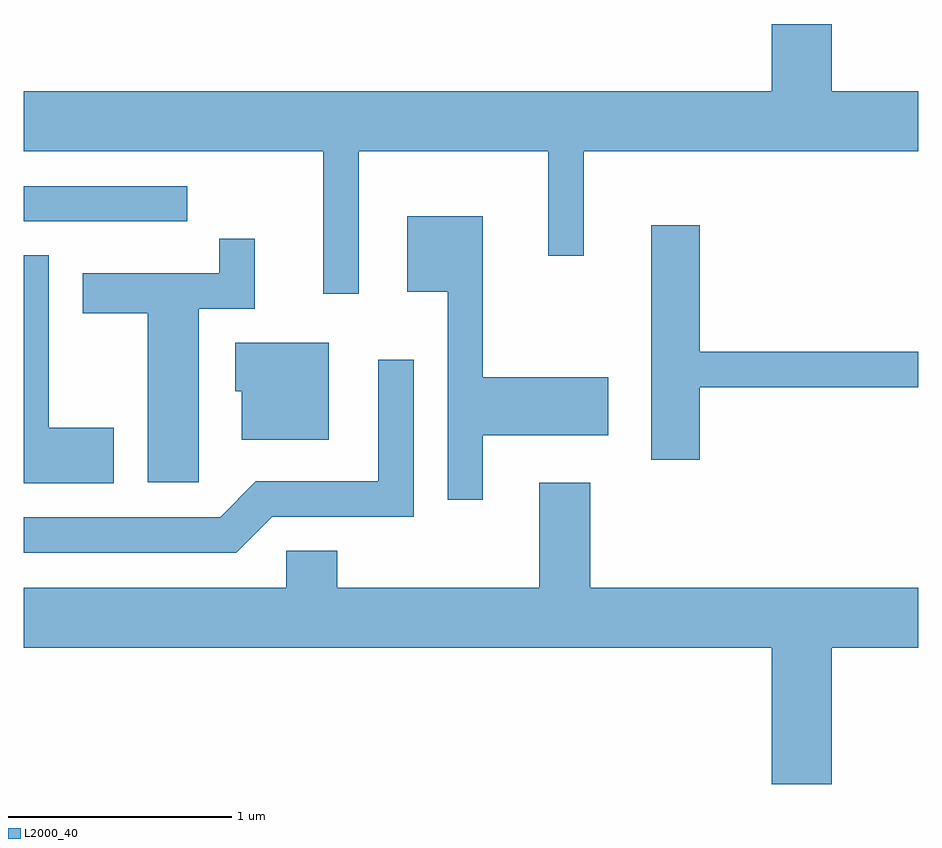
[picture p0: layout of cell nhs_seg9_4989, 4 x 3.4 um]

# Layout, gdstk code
import gdstk
lib = gdstk.Library(unit=1e-6, precision=1e-09)
def R(c, l, rs):  # rectangles x0, y0, x1, y1
    for r in rs: c.add(gdstk.rectangle(r[:2], r[2:], *l))
def P(c, l, *ps):  # polygons
    for p in ps: c.add(gdstk.Polygon(p, *l))
L2000_40 = (2000, 40)

nhs_seg9_4989 = lib.new_cell('nhs_seg9_4989')
R(nhs_seg9_4989, L2000_40, [(331.611,2049.221,332.343,2049.379)])
P(nhs_seg9_4989, L2000_40, [(333.109,2049.536),(333.956,2049.536),(333.956,2049.068),(334.114,2049.068),(334.114,2049.536),(335.611,2049.536),(335.611,2049.804),(335.224,2049.804),(335.224,2050.104),(334.956,2050.104),(334.956,2049.804),(331.611,2049.804),(331.611,2049.536),(332.951,2049.536),(332.951,2048.898),(333.109,2048.898)],
  [(333.664,2048.266),(334.224,2048.266),(334.224,2048.524),(333.664,2048.524),(333.664,2049.244),(333.326,2049.244),(333.326,2048.906),(333.506,2048.906),(333.506,2047.978),(333.664,2047.978)],
  [(334.634,2048.481),(335.611,2048.481),(335.611,2048.639),(334.634,2048.639),(334.634,2049.204),(334.416,2049.204),(334.416,2048.156),(334.634,2048.156)],
  [(332.394,2048.831),(332.644,2048.831),(332.644,2049.143),(332.486,2049.143),(332.486,2048.989),(331.876,2048.989),(331.876,2048.811),(332.166,2048.811),(332.166,2048.056),(332.394,2048.056)],
  [(332.014,2048.299),(331.724,2048.299),(331.724,2049.069),(331.611,2049.069),(331.611,2048.051),(332.014,2048.051)],
  [(332.974,2048.679),(332.556,2048.679),(332.556,2048.461),(332.586,2048.461),(332.586,2048.246),(332.974,2048.246)],
  [(332.722,2047.901),(333.354,2047.901),(333.354,2048.603),(333.196,2048.603),(333.196,2048.059),(332.649,2048.059),(332.489,2047.899),(331.611,2047.899),(331.611,2047.741),(332.562,2047.741)],
  [(335.224,2047.316),(335.611,2047.316),(335.611,2047.584),(334.144,2047.584),(334.144,2048.054),(333.916,2048.054),(333.916,2047.584),(333.014,2047.584),(333.014,2047.749),(332.786,2047.749),(332.786,2047.584),(331.611,2047.584),(331.611,2047.316),(334.956,2047.316),(334.956,2046.706),(335.224,2046.706)])

lib.write_gds('nhs_seg9_4989.gds')
